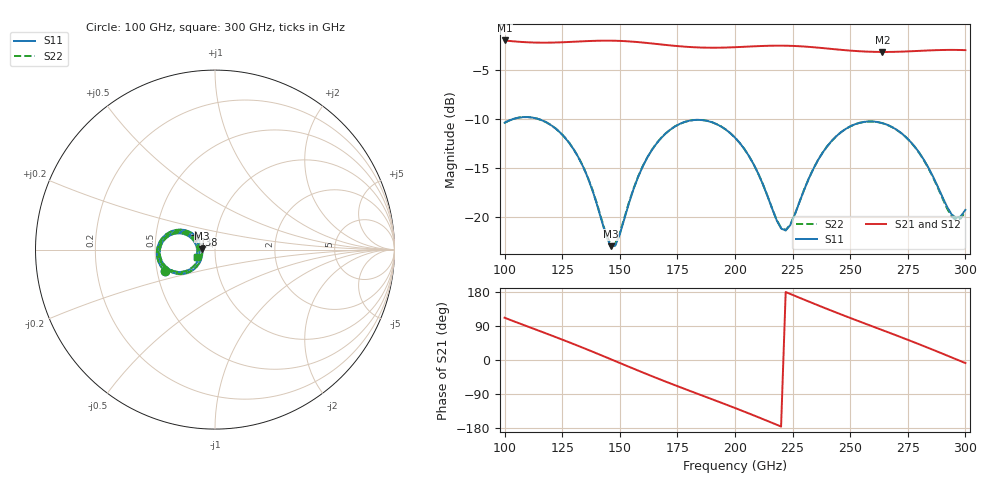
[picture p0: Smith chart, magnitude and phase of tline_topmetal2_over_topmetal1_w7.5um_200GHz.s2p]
#  GHZ S DB R 50
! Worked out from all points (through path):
!   101 points, 100 GHz to 300 GHz, reference 50 ohm
!   highest |S21| = -1.95 dB at 100 GHz (marker M1); lowest = -3.1 dB at 264 GHz (marker M2)
!   group delay of S21, straight-line fit = 6.67 ps
!   lowest |S11| = -22.9 dB at 146 GHz (marker M3), VSWR 1.15, Z = 43.4 + j0.478 ohm
!   |S11| at or under -10 dB: start of sweep to 103.4 GHz; 115 GHz to end of sweep
!   |S22| runs from -22.7 to -9.8 dB; largest |S21 - S12| = 1.4e-13
!   S11 on the Smith chart (normalised r, x): 100 GHz: 0.55, -0.14; 138 GHz: 0.79, +0.13; 300 GHz: 0.81, -0.06
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100  -10.35 -156.8  -1.95 111.5  -1.95 111.5  -10.35 -156.6
108  -9.77 -172.0  -2.11 93.0  -2.11 93.0  -9.77 -171.8
118  -10.29 169.4  -2.18 70.1  -2.18 70.1  -10.28 169.7
134  -14.80 145.4  -2.04 32.2  -2.04 32.2  -14.77 145.9
138  -17.15 144.3  -2.00 22.4  -2.00 22.4  -17.10 144.9
146  -22.93 175.6  -1.98 2.3  -1.98 2.3  -22.72 175.8
150  -21.73 -152.1  -2.00 -7.9  -2.00 -7.9  -21.58 -152.7
156  -17.08 -136.7  -2.08 -23.0  -2.08 -23.0  -17.03 -137.2
168  -11.89 -148.2  -2.36 -52.4  -2.36 -52.4  -11.87 -148.5
184  -10.05 -175.4  -2.66 -89.7  -2.66 -89.7  -10.04 -175.5
200  -11.87 158.6  -2.64 -126.7  -2.64 -126.7  -11.86 158.5
212  -16.57 149.5  -2.51 -155.6  -2.51 -155.6  -16.55 149.5
218  -20.25 163.0  -2.48 -170.6  -2.48 -170.6  -20.20 163.0
222  -21.34 -173.1  -2.49 179.4  -2.49 179.4  -21.28 -173.3
234  -15.05 -141.9  -2.64 149.3  -2.64 149.3  -15.04 -142.2
248  -10.98 -158.3  -2.95 115.7  -2.95 115.7  -10.98 -158.6
264  -10.38 176.1  -3.13 78.8  -3.13 78.8  -10.39 175.8
268  -10.76 170.0  -3.12 69.6  -3.12 69.6  -10.77 169.6
278  -12.78 156.8  -3.04 46.1  -3.04 46.1  -12.81 156.3
286  -15.86 153.1  -2.95 26.8  -2.95 26.8  -15.94 152.5
294  -19.69 171.6  -2.92 6.9  -2.92 6.9  -19.90 171.2
300  -19.23 -159.3  -2.94 -8.1  -2.94 -8.1  -19.42 -158.5
